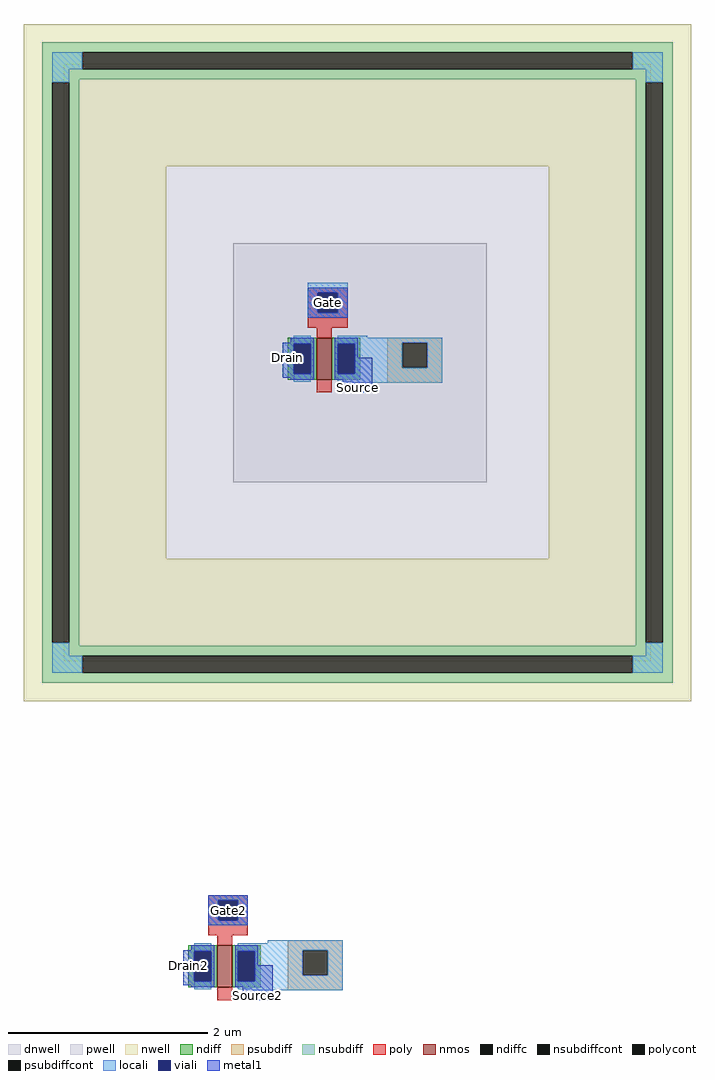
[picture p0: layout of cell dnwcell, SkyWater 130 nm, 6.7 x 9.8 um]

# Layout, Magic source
magic
tech sky130A
magscale 1 2
<< dnwell >>
rect 50 -280 1230 920
<< nwell >>
rect -30 714 1310 1000
rect -30 -74 256 714
rect 1024 -74 1310 714
rect -30 -360 1310 -74
<< pwell >>
rect 390 80 900 560
<< nmos >>
rect 558 286 588 370
rect 358 -934 388 -850
<< ndiff >>
rect 500 358 558 370
rect 500 298 512 358
rect 546 298 558 358
rect 500 286 558 298
rect 588 358 646 370
rect 588 298 600 358
rect 634 298 646 358
rect 588 286 646 298
rect 300 -862 358 -850
rect 300 -922 312 -862
rect 346 -922 358 -862
rect 300 -934 358 -922
rect 388 -862 446 -850
rect 388 -922 400 -862
rect 434 -922 446 -862
rect 388 -934 446 -922
<< ndiffc >>
rect 512 298 546 358
rect 600 298 634 358
rect 312 -922 346 -862
rect 400 -922 434 -862
<< psubdiff >>
rect 700 360 810 370
rect 700 310 730 360
rect 780 310 810 360
rect 700 280 810 310
rect 500 -860 610 -840
rect 500 -910 530 -860
rect 580 -910 610 -860
rect 500 -940 610 -910
<< nsubdiff >>
rect 7 943 1273 963
rect 7 909 87 943
rect 1193 909 1273 943
rect 7 889 1273 909
rect 7 883 81 889
rect 7 -243 27 883
rect 61 -243 81 883
rect 1199 883 1273 889
rect 7 -249 81 -243
rect 1199 -243 1219 883
rect 1253 -243 1273 883
rect 1199 -249 1273 -243
rect 7 -269 1273 -249
rect 7 -303 87 -269
rect 1193 -303 1273 -269
rect 7 -323 1273 -303
<< psubdiffcont >>
rect 730 310 780 360
rect 530 -910 580 -860
<< nsubdiffcont >>
rect 87 909 1193 943
rect 27 -243 61 883
rect 1219 -243 1253 883
rect 87 -303 1193 -269
<< poly >>
rect 540 460 620 470
rect 540 420 560 460
rect 600 420 620 460
rect 540 390 620 420
rect 558 370 588 390
rect 558 260 588 286
rect 340 -760 420 -750
rect 340 -800 360 -760
rect 400 -800 420 -760
rect 340 -830 420 -800
rect 358 -850 388 -830
rect 358 -960 388 -934
<< polycont >>
rect 560 420 600 460
rect 360 -800 400 -760
<< locali >>
rect 27 909 87 943
rect 1193 909 1253 943
rect 27 883 61 909
rect 1219 883 1253 909
rect 540 460 620 480
rect 540 420 560 460
rect 600 420 620 460
rect 540 410 620 420
rect 512 358 546 374
rect 512 282 546 298
rect 600 370 660 374
rect 600 360 810 370
rect 600 358 730 360
rect 634 310 730 358
rect 780 310 810 360
rect 634 298 810 310
rect 600 282 810 298
rect 630 280 810 282
rect 27 -269 61 -243
rect 1219 -269 1253 -243
rect 27 -303 87 -269
rect 1193 -303 1253 -269
rect 340 -760 420 -750
rect 340 -800 360 -760
rect 400 -800 420 -760
rect 340 -810 420 -800
rect 460 -846 610 -840
rect 312 -862 346 -846
rect 312 -938 346 -922
rect 400 -860 610 -846
rect 400 -862 530 -860
rect 434 -910 530 -862
rect 580 -910 610 -860
rect 434 -922 610 -910
rect 400 -938 610 -922
rect 430 -940 610 -938
<< viali >>
rect 560 420 600 460
rect 512 298 546 358
rect 600 298 634 358
rect 360 -800 400 -760
rect 312 -922 346 -862
rect 400 -922 434 -862
<< metal1 >>
rect 540 460 620 470
rect 540 420 560 460
rect 600 420 620 460
rect 540 410 620 420
rect 506 360 552 370
rect 490 358 552 360
rect 490 298 512 358
rect 546 298 552 358
rect 490 290 552 298
rect 506 286 552 290
rect 594 358 640 370
rect 594 298 600 358
rect 634 330 640 358
rect 634 298 670 330
rect 594 286 670 298
rect 610 260 670 286
rect 340 -760 420 -750
rect 340 -800 360 -760
rect 400 -800 420 -760
rect 340 -810 420 -800
rect 306 -860 352 -850
rect 290 -862 352 -860
rect 290 -922 312 -862
rect 346 -922 352 -862
rect 290 -930 352 -922
rect 306 -934 352 -930
rect 394 -862 440 -850
rect 394 -922 400 -862
rect 434 -890 440 -862
rect 434 -922 470 -890
rect 394 -934 470 -922
rect 410 -960 470 -934
<< labels >>
rlabel metal1 500 330 500 330 1 Drain
port 3 n
rlabel metal1 640 270 640 270 1 Source
port 1 n
rlabel viali 580 440 580 440 1 Gate
port 2 n
rlabel metal1 440 -950 440 -950 1 Source2
port 6 n
rlabel metal1 300 -890 300 -890 1 Drain2
port 5 n
rlabel viali 380 -780 380 -780 1 Gate2
port 4 n
<< end >>
